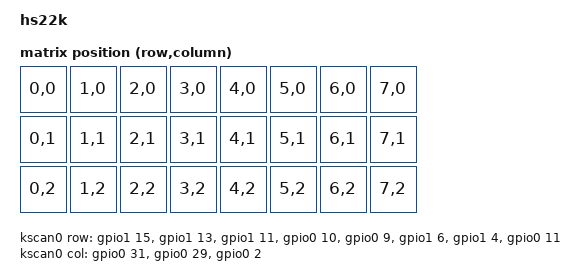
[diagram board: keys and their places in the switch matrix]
/*
 * Copyright (c) 2022 Daniel Grenehed
 *
 * SPDX-License-Identifier: MIT
 */

/dts-v1/;
#include <nordic/nrf52840_qiaa.dtsi>
#include <dt-bindings/zmk/matrix_transform.h>

/ {
	model = "hs22k";
	compatible = "hs22k";

	chosen {
		zephyr,code-partition = &code_partition;
		zephyr,sram = &sram0;
		zephyr,flash = &flash0;
		zmk,kscan = &kscan0;
		zmk,matrix_transform = &default_transform;
	};

	default_transform: keymap_transform_0 {
		compatible = "zmk,matrix-transform";
		columns = <3>;
		rows = <8>;
		map = <
			RC(0,0) RC(1,0) RC(2,0) RC(3,0) RC(4,0) RC(5,0) RC(6,0) RC(7,0)
			RC(0,1) RC(1,1) RC(2,1) RC(3,1) RC(4,1) RC(5,1) RC(6,1) RC(7,1)
			RC(0,2) RC(1,2) RC(2,2) RC(3,2) RC(4,2) RC(5,2) RC(6,2) RC(7,2)
		>;
	};

	kscan0: kscan {
		compatible = "zmk,kscan-gpio-matrix";
		label = "KSCAN";

		diode-direction = "col2row";
		row-gpios
			= <&gpio1 15 (GPIO_ACTIVE_HIGH | GPIO_PULL_DOWN)>
			, <&gpio1 13 (GPIO_ACTIVE_HIGH | GPIO_PULL_DOWN)>
			, <&gpio1 11 (GPIO_ACTIVE_HIGH | GPIO_PULL_DOWN)>
			, <&gpio0 10 (GPIO_ACTIVE_HIGH | GPIO_PULL_DOWN)>
			, <&gpio0 9 (GPIO_ACTIVE_HIGH | GPIO_PULL_DOWN)>
			, <&gpio1 6 (GPIO_ACTIVE_HIGH | GPIO_PULL_DOWN)>
			, <&gpio1 4 (GPIO_ACTIVE_HIGH | GPIO_PULL_DOWN)>
			, <&gpio0 11 (GPIO_ACTIVE_HIGH | GPIO_PULL_DOWN)>
			;
		col-gpios
			= <&gpio0 31 GPIO_ACTIVE_HIGH>
			, <&gpio0 29 GPIO_ACTIVE_HIGH>
			, <&gpio0 2 GPIO_ACTIVE_HIGH>
			;
	};

	ext-power {
		compatible = "zmk,ext-power-generic";
		label = "EXT_POWER";
		control-gpios = <&gpio0 5 GPIO_ACTIVE_LOW>;
	};

	vbatt {
		compatible = "zmk,battery-voltage-divider";
		label = "BATTERY";
		io-channels = <&adc 2>;
		output-ohms = <2000000>;
		full-ohms = <(2000000 + 806000)>;
	};
};

&adc {
	status = "okay";
};

&gpiote {
	status = "okay";
};

&gpio0 {
	status = "okay";
};

&gpio1 {
	status = "okay";
};

&usbd {
	status = "okay";
};

&flash0 {
	/*
	 * For more information, see:
	 * http://docs.zephyrproject.org/latest/devices/dts/flash_partitions.html
	 */
	partitions {
		compatible = "fixed-partitions";
		#address-cells = <1>;
		#size-cells = <1>;

		sd_partition: partition@0 {
			label = "mbr";
			reg = <0x00000000 0x00001000>;
		};

		code_partition: partition@1000 {
			label = "code_partition";
			reg = <0x00001000 0x000d3000>;
		};

		/*
		 * The flash starting at 0x000d4000 and ending at
		 * 0x000f3fff is reserved for use by the application.
		 */

		/*
		 * Storage partition will be used by FCB/LittleFS/NVS
		 * if enabled.
		 */
		storage_partition: partition@d4000 {
			label = "storage";
			reg = <0x000d4000 0x00020000>;
		};

		boot_partition: partition@f4000 {
			label = "adafruit_boot";
			reg = <0x000f4000 0x0000c000>;
		};
	};
};
